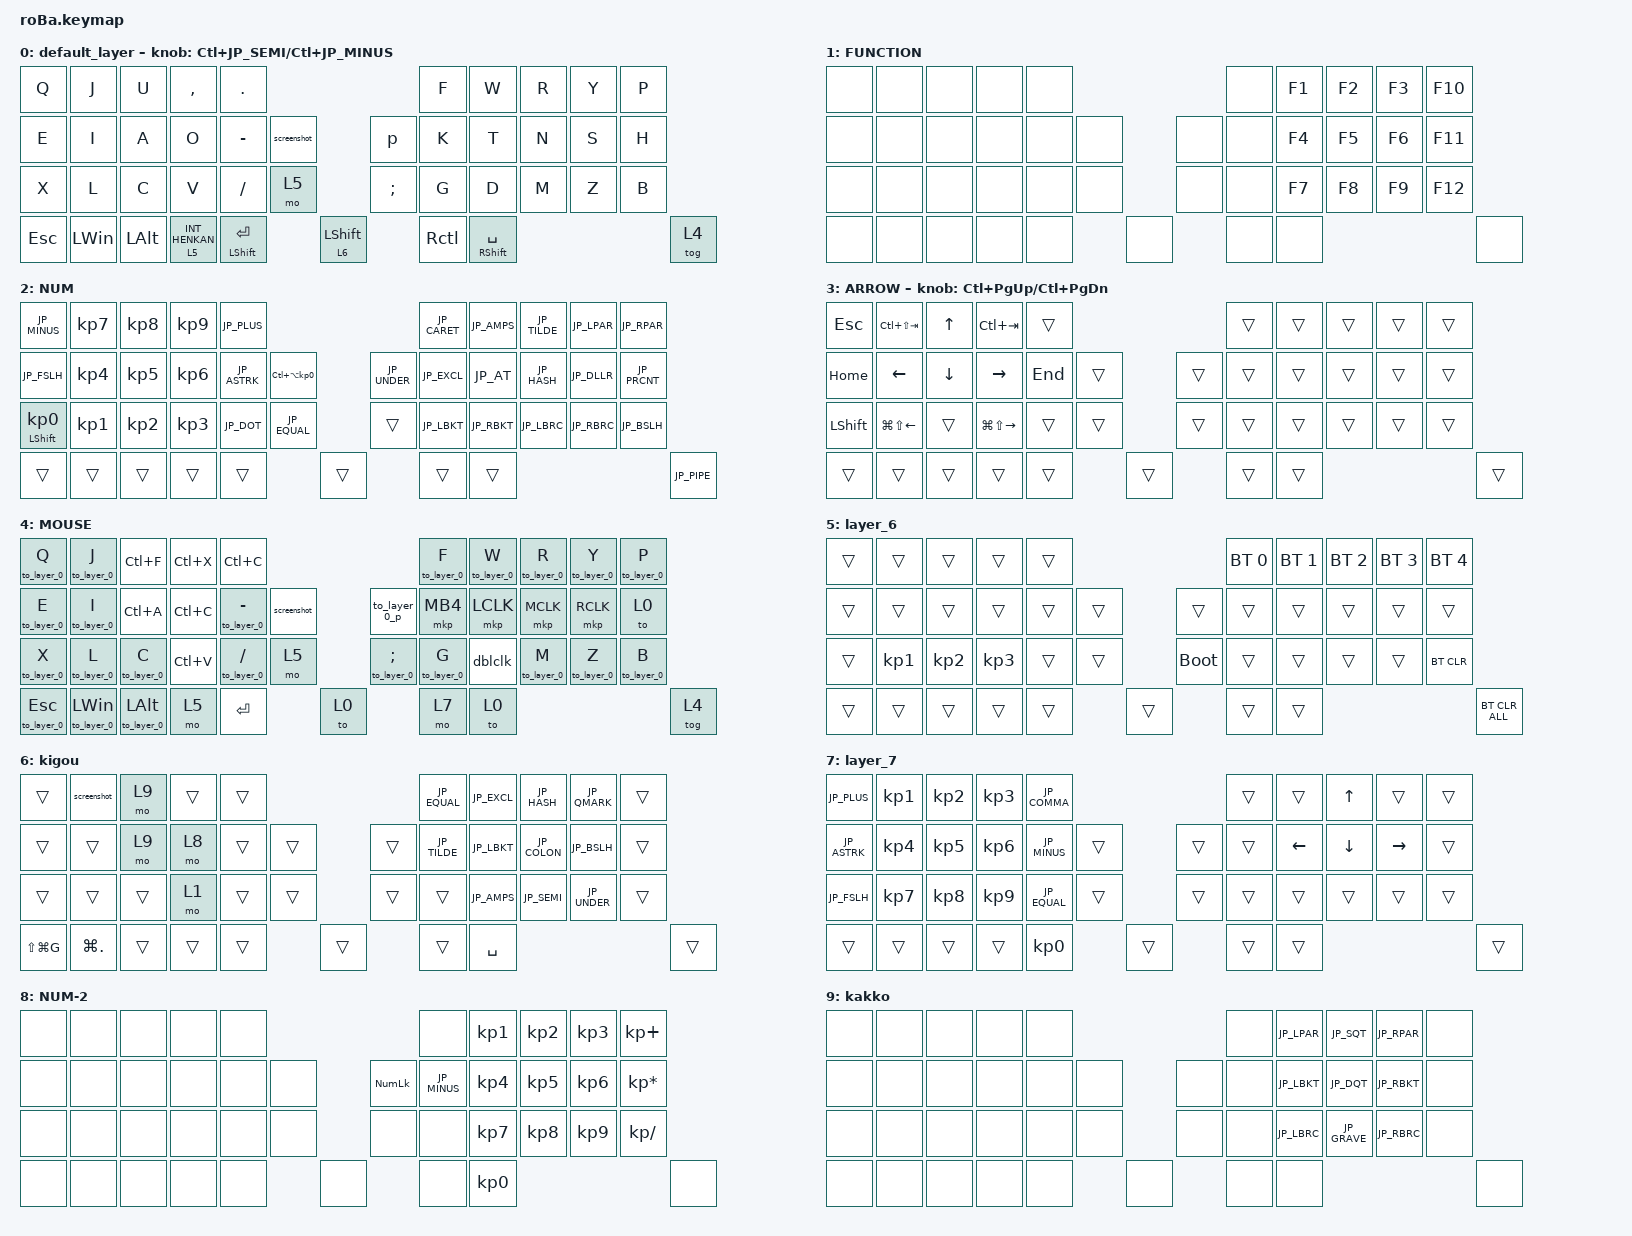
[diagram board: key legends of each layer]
#include <behaviors.dtsi>
#include <dt-bindings/zmk/bt.h>
#include <dt-bindings/zmk/keys.h>
#include <dt-bindings/zmk/pointing.h>
#include "keys_ja.h"

/* Layers:
 * 0 default, 1 FUNCTION, 2 NUM, 3 ARROW, 4 MOUSE,
 * 5 scroll/BT (hold the 変換 thumb), 6 kigou, 7 layer_7, 8 NUM-2, 9 kakko.
 *
 * Symbol keys use keys_ja.h so a JIS OS layout produces the named character.
 * Number keys on symbol/num layers are keypad codes (KP_N0..KP_N9).
 */

&mt {
    flavor = "balanced";
    quick-tap-ms = <0>;
};

&trackball {
    automouse-layer = <4>;
    scroll-layers = <5>;
};

/ {
    combos {
        compatible = "zmk,combos";

        /* T+N (positions 18 and 19) on every layer except MOUSE.
         * MOUSE uses bs_mouse: Backspace, then &to 0.
         * Position 18 is also in iko-ru (41+18). Those chords differ, so both stay.
         * L+C (23+24, Ctrl+Z) does not share these positions.
         */
        bs {
            bindings = <&kp BACKSPACE>;
            key-positions = <18 19>;
            layers = <0 1 2 3 5 6 7 8 9>;
        };

        bs_mouse {
            bindings = <&bs_to_0>;
            key-positions = <18 19>;
            layers = <4>;
        };

        tab {
            bindings = <&kp TAB>;
            key-positions = <30 31>;
            layers = <0>;
        };

        henkan {
            bindings = <&kp LA(GRAVE)>;
            key-positions = <6 7>;
            layers = <0>;
        };

        iko-ru {
            bindings = <&kp JP_EQUAL>;
            key-positions = <41 18>;
        };

        /* Default layer: L (position 23) + C (position 24) = Ctrl+Z.
         * Highest active layer must be 0, so number layers do not steal this chord.
         */
        ctrl_z {
            bindings = <&kp LC(Z)>;
            key-positions = <23 24>;
            layers = <0>;
            timeout-ms = <50>;
        };
    };

    macros {
        /* Tap: &to 0, then the key from layer 0 at this position. */
        to_layer_0: to_layer_0 {
            compatible = "zmk,behavior-macro-one-param";
            #binding-cells = <1>;
            bindings = <&to 0 &macro_param_1to1 &kp MACRO_PLACEHOLDER>;
            label = "TO_LAYER_0";
        };

        /* MOUSE T+N combo: Backspace, then only layer 0. */
        bs_to_0: bs_to_0 {
            compatible = "zmk,behavior-macro";
            #binding-cells = <0>;
            bindings = <&kp BSPC &to 0>;
            label = "BS_TO_0";
        };

        p: password {
            compatible = "zmk,behavior-macro";
            #binding-cells = <0>;
            bindings = <&none &kp N1 &kp Q &kp A &kp Z &kp N2 &kp W &kp S &kp X &kp LS(MINUS) &kp LS(LBKT) &kp LS(SQT) &kp LS(INT1)>;
            label = "PASSWORD";
        };

        /* Layer 0's binding here is the password macro, not &kp. */
        to_layer_0_p: to_layer_0_p {
            compatible = "zmk,behavior-macro";
            #binding-cells = <0>;
            bindings = <&to 0 &p>;
            label = "TO_LAYER_0_P";
        };

        /* Win+Shift+S. Release S before the modifiers so the Start menu does not open. */
        screenshot: screenshot {
            compatible = "zmk,behavior-macro";
            #binding-cells = <0>;
            wait-ms = <0>;
            tap-ms = <0>;
            bindings
                = <&macro_press &kp LGUI &kp LSHFT &kp S>
                , <&macro_pause_for_release>
                , <&macro_release &kp S &kp LSHFT &kp LGUI>;
        };

        /* Two left clicks. 30ms down, 40ms gap: inside the usual Windows double-click time. */
        dblclk: double_click {
            compatible = "zmk,behavior-macro";
            #binding-cells = <0>;
            tap-ms = <30>;
            wait-ms = <40>;
            bindings = <&mkp LCLK &mkp LCLK>;
        };
    };

    behaviors {
        lt_to_layer_0: lt_to_layer_0 {
            compatible = "zmk,behavior-hold-tap";
            label = "LAYER_TAP_TO_0";
            bindings = <&mo>, <&to_layer_0>;

            #binding-cells = <2>;
            tapping-term-ms = <200>;
        };

        Rctl: Rctl {
            compatible = "zmk,behavior-tap-dance";
            label = "RCTL";
            #binding-cells = <0>;
            bindings = <&mo 7>, <&kp RCTRL>;
        };

        /* Hold commits to Shift once another key is down, even if this key is released first.
         * The global &mt stays balanced, so Space and the numpad 0 keep their old timing.
         */
        shift_enter: shift_enter {
            compatible = "zmk,behavior-hold-tap";
            label = "SHIFT_ENTER";
            bindings = <&kp>, <&kp>;
            #binding-cells = <2>;
            flavor = "hold-preferred";
            tapping-term-ms = <200>;
            quick-tap-ms = <0>;
        };

    };

    keymap {
        compatible = "zmk,keymap";

        /* Position 27, directly under screenshot, holds the BT layer (layer 5).
         * It was the JIS colon, JP_COLON. Layer 5 keeps this key transparent.
         */
        default_layer {
            bindings = <
&kp Q    &kp J         &kp U         &kp COMMA                    &kp PERIOD                                                            &kp F        &kp W  &kp R  &kp Y  &kp P
&kp E    &kp I         &kp A         &kp O                        &kp MINUS             &screenshot                      &p           &kp K        &kp T  &kp N  &kp S  &kp H
&kp X    &kp L         &kp C         &kp V                        &kp SLASH             &mo 5                            &kp SEMICOLON &kp G       &kp D  &kp M  &kp Z  &kp B
&kp ESC  &kp LEFT_WIN  &kp LEFT_ALT  &lt_to_layer_0 5 INT_HENKAN  &shift_enter LEFT_SHIFT ENTER  &lt_to_layer_0 6 LEFT_SHIFT      &Rctl        &mt RIGHT_SHIFT SPACE                 &tog 4
            >;

            /* Left encoder: clockwise zooms in, the other way zooms out.
             * On a JIS layout the ;+ key is VK_OEM_PLUS, so Ctrl+; is Ctrl+Plus.
             * Ctrl+- is the same minus key. Swap the two codes if the direction is reversed.
             */
            sensor-bindings = <&inc_dec_kp LC(JP_SEMI) LC(JP_MINUS)>;
        };

        FUNCTION {
            bindings = <
&none  &none  &none  &none  &none                    &none  &kp F1  &kp F2  &kp F3  &kp F10
&none  &none  &none  &none  &none  &none      &none  &none  &kp F4  &kp F5  &kp F6  &kp F11
&none  &none  &none  &none  &none  &none      &none  &none  &kp F7  &kp F8  &kp F9  &kp F12
&none  &none  &none  &none  &none  &none      &none  &none                          &none
            >;
        };

        NUM {
            bindings = <
&kp JP_MINUS        &kp KP_N7  &kp KP_N8  &kp KP_N9  &kp JP_PLUS                                              &kp JP_CARET  &kp JP_AMPS  &kp JP_TILDE  &kp JP_LPAR  &kp JP_RPAR
&kp JP_FSLH         &kp KP_N4  &kp KP_N5  &kp KP_N6  &kp JP_ASTRK  &kp LC(LA(KP_N0))      &kp JP_UNDER  &kp JP_EXCL  &kp JP_AT    &kp JP_HASH   &kp JP_DLLR  &kp JP_PRCNT
&mt LEFT_SHIFT KP_N0 &kp KP_N1  &kp KP_N2  &kp KP_N3  &kp JP_DOT    &kp JP_EQUAL           &trans        &kp JP_LBKT  &kp JP_RBKT  &kp JP_LBRC   &kp JP_RBRC  &kp JP_BSLH
&trans              &trans     &trans     &trans     &trans        &trans                 &trans        &trans                                           &kp JP_PIPE
            >;
        };

        ARROW {
            bindings = <
&kp ESCAPE      &kp LC(LS(TAB))         &kp UP_ARROW    &kp LC(TAB)              &trans                       &trans  &trans  &trans  &trans  &trans
&kp HOME        &kp LEFT_ARROW          &kp DOWN_ARROW  &kp RIGHT_ARROW          &kp END  &trans      &trans  &trans  &trans  &trans  &trans  &trans
&kp LEFT_SHIFT  &kp LG(LS(LEFT_ARROW))  &trans          &kp LG(LS(RIGHT_ARROW))  &trans   &trans      &trans  &trans  &trans  &trans  &trans  &trans
&trans          &trans                  &trans          &trans                   &trans   &trans      &trans  &trans                          &trans
            >;

            sensor-bindings = <&inc_dec_kp LC(PAGE_UP) LC(PAGE_DOWN)>;
        };

        /* Right home row: back, left click, middle click (held while the key is down), right click.
         * Left edit column (column 3: comma, O, V on layer 0), top to bottom:
         * cut (Ctrl+X), copy (Ctrl+C), paste (Ctrl+V).
         * The period key (column 4) stays copy. Ctrl+F and Ctrl+A stay.
         * Double-click is directly under left click.
         * Hold the 変換 thumb to scroll. Enter is the enter thumb.
         * The right-edge key toggles this layer.
         * Keys that were blank use &to 0 (only layer 0 stays on), then tap the
         * layer-0 key in that position. Keys that already do something are unchanged.
         * The password position runs &p after &to 0.
         * Position 27 matches layer 0: hold for the BT layer (&mo 5).
         */
        MOUSE {
            bindings = <
&to_layer_0 Q    &to_layer_0 J  &kp LC(F)       &kp LC(X)      &kp LC(C)                                                              &to_layer_0 F          &to_layer_0 W  &to_layer_0 R  &to_layer_0 Y  &to_layer_0 P
&to_layer_0 E    &to_layer_0 I  &kp LC(A)       &kp LC(C)      &to_layer_0 MINUS     &screenshot                    &to_layer_0_p          &mkp MB4           &mkp LCLK      &mkp MCLK      &mkp RCLK      &to 0
&to_layer_0 X    &to_layer_0 L  &to_layer_0 C   &kp LC(V)      &to_layer_0 SLASH     &mo 5                          &to_layer_0 SEMICOLON  &to_layer_0 G      &dblclk        &to_layer_0 M  &to_layer_0 Z  &to_layer_0 B
&to_layer_0 ESC  &to_layer_0 LEFT_WIN  &to_layer_0 LEFT_ALT  &mo 5  &kp ENTER  &to 0             &mo 7      &to 0                                             &tog 4
            >;
        };

        layer_6 {
            bindings = <
&trans  &trans        &trans        &trans        &trans                           &bt BT_SEL 0  &bt BT_SEL 1  &bt BT_SEL 2  &bt BT_SEL 3  &bt BT_SEL 4
&trans  &trans        &trans        &trans        &trans  &trans      &trans       &trans        &trans        &trans        &trans        &trans
&trans  &kp KP_N1     &kp KP_N2     &kp KP_N3     &trans  &trans      &bootloader  &trans        &trans        &trans        &trans        &bt BT_CLR
&trans  &trans        &trans        &trans        &trans  &trans      &trans       &trans                                                  &bt BT_CLR_ALL
            >;
        };

        /* Position 19 is directly above this layer's `;` (JP_SEMI, position 31).
         * It was `'` (JP_SQT). JP_COLON is the JIS colon.
         */
        kigou {
            bindings = <
&trans         &screenshot     &mo 9   &trans  &trans                      &kp JP_EQUAL  &kp JP_EXCL  &kp JP_HASH  &kp JP_QMARK  &trans
&trans         &trans          &mo 9   &mo 8   &trans  &trans      &trans  &kp JP_TILDE  &kp JP_LBKT  &kp JP_COLON &kp JP_BSLH   &trans
&trans         &trans          &trans  &mo 1   &trans  &trans      &trans  &trans        &kp JP_AMPS  &kp JP_SEMI  &kp JP_UNDER  &trans
&kp LS(LG(G))  &kp LG(PERIOD)  &trans  &trans  &trans  &trans      &trans  &kp SPACE                                         &trans
            >;
        };

        layer_7 {
            bindings = <
&kp JP_PLUS   &kp KP_N1  &kp KP_N2  &kp KP_N3  &kp JP_COMMA                            &trans  &trans          &kp UP_ARROW  &trans     &trans
&kp JP_ASTRK  &kp KP_N4  &kp KP_N5  &kp KP_N6  &kp JP_MINUS       &trans      &trans  &trans  &kp LEFT_ARROW  &kp DOWN      &kp RIGHT  &trans
&kp JP_FSLH   &kp KP_N7  &kp KP_N8  &kp KP_N9  &kp JP_EQUAL       &trans      &trans  &trans  &trans          &trans        &trans     &trans
&trans        &trans     &trans     &trans     &kp KP_N0          &trans      &trans  &trans                                           &trans
            >;
        };

        NUM-2 {
            bindings = <
&none  &none  &none  &none  &none                    &none         &kp KP_N1  &kp KP_N2  &kp KP_N3  &kp KP_PLUS
&none  &none  &none  &none  &none  &none      &kp KP_NUM  &kp JP_MINUS  &kp KP_N4  &kp KP_N5  &kp KP_N6  &kp KP_MULTIPLY
&none  &none  &none  &none  &none  &none      &none  &none         &kp KP_N7  &kp KP_N8  &kp KP_N9  &kp KP_DIVIDE
&none  &none  &none  &none  &none  &none      &none  &kp KP_N0                                &none
            >;
        };

        kakko {
            bindings = <
&none  &none  &none  &none  &none                    &none  &kp JP_LPAR  &kp JP_SQT    &kp JP_RPAR  &none
&none  &none  &none  &none  &none  &none      &none  &none  &kp JP_LBKT  &kp JP_DQT    &kp JP_RBKT  &none
&none  &none  &none  &none  &none  &none      &none  &none  &kp JP_LBRC  &kp JP_GRAVE  &kp JP_RBRC  &none
&none  &none  &none  &none  &none  &none      &none  &none                                         &none
            >;
        };

    };
};
